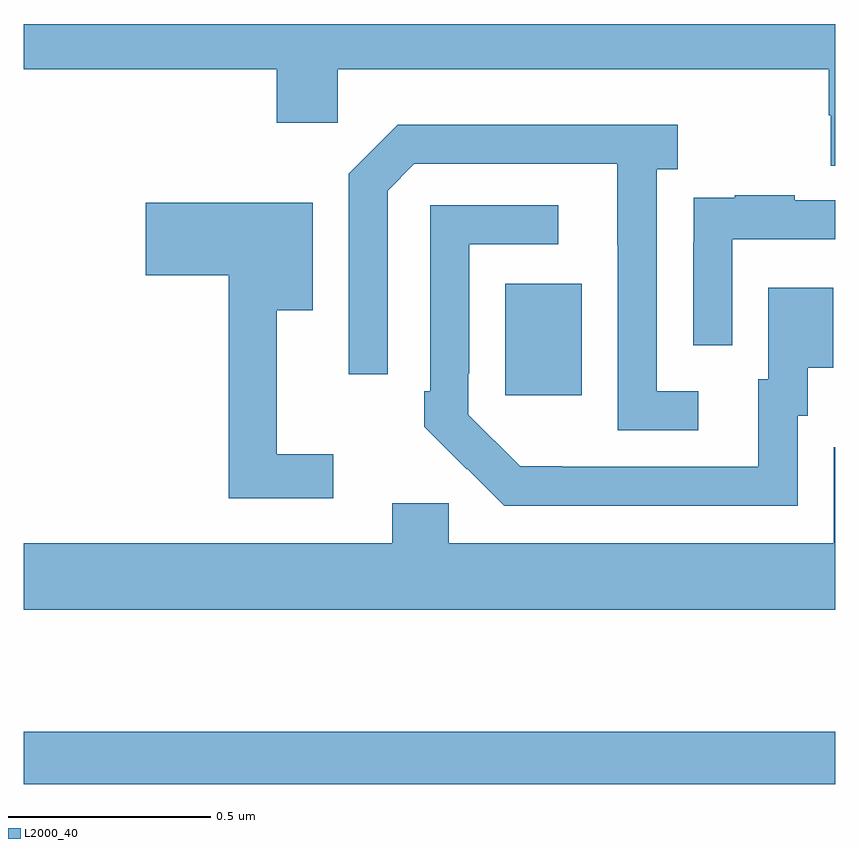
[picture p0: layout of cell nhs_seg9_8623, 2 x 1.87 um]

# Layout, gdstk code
import gdstk
lib = gdstk.Library(unit=1e-6, precision=1e-09)
def R(c, l, rs):  # rectangles x0, y0, x1, y1
    for r in rs: c.add(gdstk.rectangle(r[:2], r[2:], *l))
def P(c, l, *ps):  # polygons
    for p in ps: c.add(gdstk.Polygon(p, *l))
L2000_40 = (2000, 40)

nhs_seg9_8623 = lib.new_cell('nhs_seg9_8623')
R(nhs_seg9_8623, L2000_40, [(219,1226.626,221,1226.755), (220.187,1227.585,220.375,1227.859)])
P(nhs_seg9_8623, L2000_40, [(221,1228.5),(219,1228.5),(219,1228.388),(219.623,1228.388),(219.623,1228.257),(219.774,1228.257),(219.774,1228.388),(220.985,1228.388),(220.985,1228.275),(220.99,1228.275),(220.99,1228.15),(221,1228.15)],
  [(220.663,1227.594),(220.56,1227.594),(220.56,1228.142),(220.612,1228.142),(220.612,1228.252),(219.922,1228.252),(219.801,1228.131),(219.801,1227.636),(219.897,1227.636),(219.897,1228.089),(219.963,1228.155),(220.463,1228.155),(220.463,1227.955),(220.464,1227.955),(220.464,1227.498),(220.663,1227.498)],
  [(220.746,1227.969),(221,1227.969),(221,1228.065),(220.901,1228.065),(220.901,1228.078),(220.753,1228.078),(220.753,1228.071),(220.651,1228.071),(220.651,1227.962),(220.65,1227.962),(220.65,1227.708),(220.746,1227.708)],
  [(219.763,1227.439),(219.623,1227.439),(219.623,1227.794),(219.712,1227.794),(219.712,1228.059),(219.3,1228.059),(219.3,1227.881),(219.505,1227.881),(219.505,1227.33),(219.763,1227.33)],
  [(220.908,1227.534),(220.933,1227.534),(220.933,1227.653),(220.996,1227.653),(220.996,1227.85),(220.835,1227.85),(220.835,1227.624),(220.811,1227.624),(220.811,1227.408),(220.327,1227.408),(220.327,1227.409),(220.224,1227.409),(220.095,1227.537),(220.095,1227.637),(220.098,1227.637),(220.098,1227.957),(220.318,1227.957),(220.318,1228.053),(220.002,1228.053),(220.002,1227.595),(219.987,1227.595),(219.987,1227.507),(220.092,1227.402),(220.093,1227.403),(220.184,1227.312),(220.908,1227.312)],
  [(221,1227.456),(220.997,1227.456),(220.997,1227.22),(220.047,1227.22),(220.047,1227.318),(219.908,1227.318),(219.908,1227.22),(219,1227.22),(219,1227.056),(221,1227.056)])

lib.write_gds('nhs_seg9_8623.gds')
